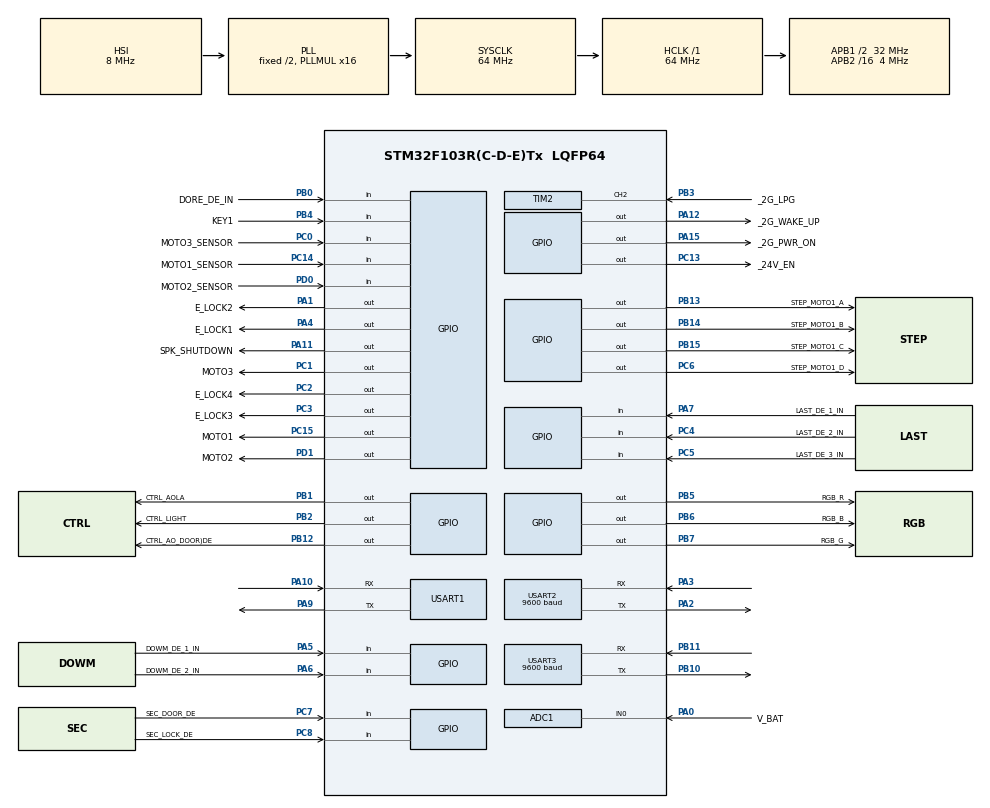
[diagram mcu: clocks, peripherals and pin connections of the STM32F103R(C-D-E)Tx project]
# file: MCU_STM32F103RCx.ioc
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ADC1.Channel-0\#ChannelRegularConversion=ADC_CHANNEL_0
ADC1.NbrOfConversionFlag=1
ADC1.Rank-0\#ChannelRegularConversion=1
ADC1.SamplingTime-0\#ChannelRegularConversion=ADC_SAMPLETIME_239CYCLES_5
ADC1.master=1
Mcu.Family=STM32F1
Mcu.Name=STM32F103R(C-D-E)Tx
Mcu.Package=LQFP64
NVIC.PriorityGroup=NVIC_PRIORITYGROUP_4
NVIC.TIM2_IRQn=true\:0\:0\:false\:false\:true\:true\:true
NVIC.USART2_IRQn=true\:0\:0\:false\:false\:true\:true\:true
PA0-WKUP.GPIO_Label=V_BAT
PA0-WKUP.Signal=ADCx_IN0
PA1.GPIO_Label=E_LOCK2
PA1.Signal=GPIO_Output
PA10.Mode=Asynchronous
PA10.Signal=USART1_RX
PA11.GPIO_Label=SPK_SHUTDOWN
PA11.GPIO_ModeDefaultOutputPP=GPIO_MODE_OUTPUT_PP
PA11.GPIO_PuPd=GPIO_NOPULL
PA11.PinState=GPIO_PIN_RESET
PA11.Signal=GPIO_Output
PA12.GPIO_Label=_2G_WAKE_UP
PA12.GPIO_PuPd=GPIO_PULLDOWN
PA12.Signal=GPIO_Output
PA13.Mode=Serial_Wire
PA13.Signal=SYS_JTMS-SWDIO
PA14.Mode=Serial_Wire
PA14.Signal=SYS_JTCK-SWCLK
PA15.GPIO_Label=_2G_PWR_ON
PA15.GPIO_PuPd=GPIO_PULLUP
PA15.PinState=GPIO_PIN_SET
PA15.Signal=GPIO_Output
PA2.Mode=Asynchronous
PA2.Signal=USART2_TX
PA3.Mode=Asynchronous
PA3.Signal=USART2_RX
PA4.GPIO_Label=E_LOCK1
PA4.Signal=GPIO_Output
PA5.GPIO_Label=DOWM_DE_1_IN
PA5.Signal=GPIO_Input
PA6.GPIO_Label=DOWM_DE_2_IN
PA6.Signal=GPIO_Input
PA7.GPIO_Label=LAST_DE_1_IN
PA7.Signal=GPIO_Input
PA9.Mode=Asynchronous
PA9.Signal=USART1_TX
PB0.GPIO_Label=DORE_DE_IN
PB0.Signal=GPIO_Input
PB1.GPIO_Label=CTRL_AOLA
PB1.Signal=GPIO_Output
PB10.GPIO_Mode=GPIO_MODE_AF_PP
PB10.GPIO_Speed=GPIO_SPEED_FREQ_HIGH
PB10.Mode=Asynchronous
PB10.Signal=USART3_TX
PB11.GPIO_PuPd=GPIO_NOPULL
PB11.Mode=Asynchronous
PB11.Signal=USART3_RX
PB12.GPIO_Label=CTRL_AO_DOOR)DE
PB12.Signal=GPIO_Output
PB13.GPIO_Label=STEP_MOTO1_A
PB13.Signal=GPIO_Output
PB14.GPIO_Label=STEP_MOTO1_B
PB14.Signal=GPIO_Output
PB15.GPIO_Label=STEP_MOTO1_C
PB15.Signal=GPIO_Output
PB2.GPIO_Label=CTRL_LIGHT
PB2.Signal=GPIO_Output
PB3.GPIO_Label=_2G_LPG
PB3.Signal=S_TIM2_CH2
PB4.GPIO_Label=KEY1
PB4.GPIO_PuPd=GPIO_PULLUP
PB4.Signal=GPIO_Input
PB5.GPIO_Label=RGB_R
PB5.PinState=GPIO_PIN_SET
PB5.Signal=GPIO_Output
PB6.GPIO_Label=RGB_B
PB6.PinState=GPIO_PIN_SET
PB6.Signal=GPIO_Output
PB7.GPIO_Label=RGB_G
PB7.PinState=GPIO_PIN_SET
PB7.Signal=GPIO_Output
PC0.GPIO_Label=MOTO3_SENSOR
PC0.Signal=GPIO_Input
PC1.GPIO_Label=MOTO3
PC1.Signal=GPIO_Output
PC13-TAMPER-RTC.GPIO_Label=_24V_EN
PC13-TAMPER-RTC.GPIO_ModeDefaultOutputPP=GPIO_MODE_OUTPUT_OD
PC13-TAMPER-RTC.PinState=GPIO_PIN_SET
PC13-TAMPER-RTC.Signal=GPIO_Output
PC14-OSC32_IN.GPIO_Label=MOTO1_SENSOR
PC14-OSC32_IN.Signal=GPIO_Input
PC15-OSC32_OUT.GPIO_Label=MOTO1
PC15-OSC32_OUT.Signal=GPIO_Output
PC2.GPIO_Label=E_LOCK4
PC2.Signal=GPIO_Output
PC3.GPIO_Label=E_LOCK3
PC3.Signal=GPIO_Output
PC4.GPIO_Label=LAST_DE_2_IN
PC4.Signal=GPIO_Input
PC5.GPIO_Label=LAST_DE_3_IN
PC5.Signal=GPIO_Input
PC6.GPIO_Label=STEP_MOTO1_D
PC6.Signal=GPIO_Output
PC7.GPIO_Label=SEC_DOOR_DE
PC7.GPIO_PuPd=GPIO_PULLDOWN
PC7.Signal=GPIO_Input
PC8.GPIO_Label=SEC_LOCK_DE
PC8.GPIO_PuPd=GPIO_PULLDOWN
PC8.Signal=GPIO_Input
PD0-OSC_IN.GPIO_Label=MOTO2_SENSOR
PD0-OSC_IN.Signal=GPIO_Input
PD1-OSC_OUT.GPIO_Label=MOTO2
PD1-OSC_OUT.Signal=GPIO_Output
ProjectManager.HeapSize=0x200
ProjectManager.StackSize=0x400
ProjectManager.TargetToolchain=EWARM V8
RCC.ADCPresc=RCC_ADCPCLK2_DIV8
RCC.AHBFreq_Value=64000000
RCC.APB1CLKDivider=RCC_HCLK_DIV2
RCC.APB1Freq_Value=32000000
RCC.APB1TimFreq_Value=64000000
RCC.APB2CLKDivider=RCC_HCLK_DIV16
RCC.APB2Freq_Value=4000000
RCC.APB2TimFreq_Value=8000000
RCC.HCLKFreq_Value=64000000
RCC.PLLMUL=RCC_PLL_MUL16
RCC.SYSCLKFreq_VALUE=64000000
RCC.SYSCLKSource=RCC_SYSCLKSOURCE_PLLCLK
RCC.USBFreq_Value=64000000
SH.ADCx_IN0.0=ADC1_IN0,IN0
SH.S_TIM2_CH2.0=TIM2_CH2,Input_Capture2_from_TI2
TIM2.Channel-Input_Capture2_from_TI2=TIM_CHANNEL_2
TIM2.Period=10-1
TIM2.Prescaler=6400-1
USART1.VirtualMode=VM_ASYNC
USART2.BaudRate=9600
USART2.VirtualMode=VM_ASYNC
USART3.BaudRate=9600
USART3.VirtualMode=VM_ASYNC
VP_TIM2_VS_ClockSourceINT.Mode=Internal
board=custom

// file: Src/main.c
/* USER CODE BEGIN Header */
/**
  ******************************************************************************
  * @file           : main.c
  * @brief          : Main program body
  ******************************************************************************
  ** This notice applies to any and all portions of this file
  * that are not between comment pairs USER CODE BEGIN and
  * USER CODE END. Other portions of this file, whether
  * inserted by the user or by software development tools
  * are owned by their respective copyright owners.
  *
  * COPYRIGHT(c) 2018 STMicroelectronics
  *
  * Redistribution and use in source and binary forms, with or without modification,
  * are permitted provided that the following conditions are met:
  *   1. Redistributions of source code must retain the above copyright notice,
  *      this list of conditions and the following disclaimer.
  *   2. Redistributions in binary form must reproduce the above copyright notice,
  *      this list of conditions and the following disclaimer in the documentation
  *      and/or other materials provided with the distribution.
  *   3. Neither the name of STMicroelectronics nor the names of its contributors
  *      may be used to endorse or promote products derived from this software
  *      without specific prior written permission.
  *
  * THIS SOFTWARE IS PROVIDED BY THE COPYRIGHT HOLDERS AND CONTRIBUTORS "AS IS"
  * AND ANY EXPRESS OR IMPLIED WARRANTIES, INCLUDING, BUT NOT LIMITED TO, THE
  * IMPLIED WARRANTIES OF MERCHANTABILITY AND FITNESS FOR A PARTICULAR PURPOSE ARE
  * DISCLAIMED. IN NO EVENT SHALL THE COPYRIGHT HOLDER OR CONTRIBUTORS BE LIABLE
  * FOR ANY DIRECT, INDIRECT, INCIDENTAL, SPECIAL, EXEMPLARY, OR CONSEQUENTIAL
  * DAMAGES (INCLUDING, BUT NOT LIMITED TO, PROCUREMENT OF SUBSTITUTE GOODS OR
  * SERVICES; LOSS OF USE, DATA, OR PROFITS; OR BUSINESS INTERRUPTION) HOWEVER
  * CAUSED AND ON ANY THEORY OF LIABILITY, WHETHER IN CONTRACT, STRICT LIABILITY,
  * OR TORT (INCLUDING NEGLIGENCE OR OTHERWISE) ARISING IN ANY WAY OUT OF THE USE
  * OF THIS SOFTWARE, EVEN IF ADVISED OF THE POSSIBILITY OF SUCH DAMAGE.
  *
  ******************************************************************************
  */
/* USER CODE END Header */

#include "main.h"

/* USER CODE BEGIN Includes */
#include "hal_key.h"
#include "gizwits_product.h"
#include "common.h"
#include "Vending_Machine.h"
/* USER CODE END Includes */

ADC_HandleTypeDef hadc1;

TIM_HandleTypeDef htim2;

UART_HandleTypeDef huart1;
UART_HandleTypeDef huart2;
UART_HandleTypeDef huart3;

/* USER CODE BEGIN PV */
/* Private variables ---------------------------------------------------------*/
#define GPIO_KEY_NUM 2 ///< Defines the total number of key member
keyTypedef_t singleKey[GPIO_KEY_NUM]; ///< Defines a single key member array pointer
keysTypedef_t keys;

uint32_t adcx;
double adc_result;

/* USER CODE END PV */

void SystemClock_Config(void);
static void MX_GPIO_Init(void);
static void MX_TIM2_Init(void);
static void MX_USART1_UART_Init(void);
static void MX_USART2_UART_Init(void);
static void MX_ADC1_Init(void);
static void MX_USART3_UART_Init(void);
/* USER CODE BEGIN PFP */
/* Private function prototypes -----------------------------------------------*/

/* USER CODE END PFP */

/* USER CODE BEGIN 0 */
/**
* key1 short press handle
* @param none
* @return none
*/
void key1ShortPress(void)
{
    GIZWITS_LOG("KEY1 PRESS ,Production Mode\n");
    gizwitsSetMode(WIFI_PRODUCTION_TEST);
}

/**
* key1 long press handle
* @param none
* @return none
*/
void key1LongPress(void)
{
    GIZWITS_LOG("KEY1 PRESS LONG ,Wifi Reset\n");
    gizwitsSetMode(WIFI_RESET_MODE);

}

/**
* key2 short press handle
* @param none
* @return none
*/
void key2ShortPress(void)
{
    GIZWITS_LOG("KEY2 PRESS ,Soft AP mode\n");
    #if !MODULE_TYPE
    gizwitsSetMode(WIFI_SOFTAP_MODE);
    #endif
}

/**
* key2 long press handle
* @param none
* @return none
*/
void key2LongPress(void)
{
    //AirLink mode
    GIZWITS_LOG("KEY2 PRESS LONG ,AirLink mode\n");
    #if !MODULE_TYPE
    gizwitsSetMode(WIFI_AIRLINK_MODE);
    #endif
}

/**
* Key init function
* @param none
* @return none
*/
void keyInit(void)
{
//    singleKey[0] = keyInitOne(NULL, KEY1_GPIO_Port, KEY1_Pin, key1ShortPress, key1LongPress);
//    singleKey[1] = keyInitOne(NULL, KEY2_GPIO_Port, KEY2_Pin, key2ShortPress, key2LongPress);
//    keys.singleKey = (keyTypedef_t *)&singleKey;
//    keyParaInit(&keys);
}
/* USER CODE END 0 */

int main(void)
{

  /* MCU Configuration--------------------------------------------------------*/

  /* Reset of all peripherals, Initializes the Flash interface and the Systick. */
  HAL_Init();

  /* Configure the system clock */
  SystemClock_Config();

  /* Initialize all configured peripherals */
  MX_GPIO_Init();
  MX_TIM2_Init();
  MX_USART1_UART_Init();
  MX_USART2_UART_Init();
  MX_ADC1_Init();
  MX_USART3_UART_Init();
  /* USER CODE BEGIN 2 */
  timerInit();
  uartInit();

  userInit();
  gizwitsInit();
//  keyInit();

  GIZWITS_LOG("MCU Init Success \n");
  Vending_MachineInit();//售货机初始化
  /* USER CODE END 2 */

  /* Infinite loop */
  /* USER CODE BEGIN WHILE */
  HAL_Delay(1000);
  Speakaword(welcome);

  while (1)
  {
    /* USER CODE END WHILE */

    /* USER CODE BEGIN 3 */

    if(VM_Count.Ledcount>100){
      HAL_ADC_Start(&hadc1);
      adcx=HAL_ADC_GetValue(&hadc1);//ADC原始�?
      adc_result=((adcx*0.0063938871343+0.4)-11)*159.375;
      VM_InnerCtrl.BatteryCapacity=(uint8_t)adc_result;
      VM_Count.Ledcount=0;
      HAL_GPIO_TogglePin(RGB_B_GPIO_Port, RGB_B_Pin);
    }

      userHandle();
      gizwitsHandle((dataPoint_t *)&currentDataPoint);
  }
  /* USER CODE END 3 */
}

void SystemClock_Config(void)
{
  RCC_OscInitTypeDef RCC_OscInitStruct = {0};
  RCC_ClkInitTypeDef RCC_ClkInitStruct = {0};
  RCC_PeriphCLKInitTypeDef PeriphClkInit = {0};

  /**Initializes the CPU, AHB and APB busses clocks
  */
  RCC_OscInitStruct.OscillatorType = RCC_OSCILLATORTYPE_HSI;
  RCC_OscInitStruct.HSIState = RCC_HSI_ON;
  RCC_OscInitStruct.HSICalibrationValue = RCC_HSICALIBRATION_DEFAULT;
  RCC_OscInitStruct.PLL.PLLState = RCC_PLL_ON;
  RCC_OscInitStruct.PLL.PLLSource = RCC_PLLSOURCE_HSI_DIV2;
  RCC_OscInitStruct.PLL.PLLMUL = RCC_PLL_MUL16;
  if (HAL_RCC_OscConfig(&RCC_OscInitStruct) != HAL_OK)
  {
    Error_Handler();
  }
  /**Initializes the CPU, AHB and APB busses clocks
  */
  RCC_ClkInitStruct.ClockType = RCC_CLOCKTYPE_HCLK|RCC_CLOCKTYPE_SYSCLK
                              |RCC_CLOCKTYPE_PCLK1|RCC_CLOCKTYPE_PCLK2;
  RCC_ClkInitStruct.SYSCLKSource = RCC_SYSCLKSOURCE_PLLCLK;
  RCC_ClkInitStruct.AHBCLKDivider = RCC_SYSCLK_DIV1;
  RCC_ClkInitStruct.APB1CLKDivider = RCC_HCLK_DIV2;
  RCC_ClkInitStruct.APB2CLKDivider = RCC_HCLK_DIV16;

  if (HAL_RCC_ClockConfig(&RCC_ClkInitStruct, FLASH_LATENCY_2) != HAL_OK)
  {
    Error_Handler();
  }
  PeriphClkInit.PeriphClockSelection = RCC_PERIPHCLK_ADC;
  PeriphClkInit.AdcClockSelection = RCC_ADCPCLK2_DIV8;
  if (HAL_RCCEx_PeriphCLKConfig(&PeriphClkInit) != HAL_OK)
  {
    Error_Handler();
  }
}

static void MX_ADC1_Init(void)
{

  ADC_ChannelConfTypeDef sConfig = {0};

  /**Common config
  */
  hadc1.Instance = ADC1;
  hadc1.Init.ScanConvMode = ADC_SCAN_DISABLE;
  hadc1.Init.ContinuousConvMode = DISABLE;
  hadc1.Init.DiscontinuousConvMode = DISABLE;
  hadc1.Init.ExternalTrigConv = ADC_SOFTWARE_START;
  hadc1.Init.DataAlign = ADC_DATAALIGN_RIGHT;
  hadc1.Init.NbrOfConversion = 1;
  if (HAL_ADC_Init(&hadc1) != HAL_OK)
  {
    Error_Handler();
  }
  /**Configure Regular Channel
  */
  sConfig.Channel = ADC_CHANNEL_0;
  sConfig.Rank = ADC_REGULAR_RANK_1;
  sConfig.SamplingTime = ADC_SAMPLETIME_239CYCLES_5;
  if (HAL_ADC_ConfigChannel(&hadc1, &sConfig) != HAL_OK)
  {
    Error_Handler();
  }

}

static void MX_TIM2_Init(void)
{

  TIM_ClockConfigTypeDef sClockSourceConfig = {0};
  TIM_MasterConfigTypeDef sMasterConfig = {0};
  TIM_IC_InitTypeDef sConfigIC = {0};

  htim2.Instance = TIM2;
  htim2.Init.Prescaler = 6400-1;
  htim2.Init.CounterMode = TIM_COUNTERMODE_UP;
  htim2.Init.Period = 10-1;
  htim2.Init.ClockDivision = TIM_CLOCKDIVISION_DIV1;
  htim2.Init.AutoReloadPreload = TIM_AUTORELOAD_PRELOAD_DISABLE;
  if (HAL_TIM_Base_Init(&htim2) != HAL_OK)
  {
    Error_Handler();
  }
  sClockSourceConfig.ClockSource = TIM_CLOCKSOURCE_INTERNAL;
  if (HAL_TIM_ConfigClockSource(&htim2, &sClockSourceConfig) != HAL_OK)
  {
    Error_Handler();
  }
  if (HAL_TIM_IC_Init(&htim2) != HAL_OK)
  {
    Error_Handler();
  }
  sMasterConfig.MasterOutputTrigger = TIM_TRGO_RESET;
  sMasterConfig.MasterSlaveMode = TIM_MASTERSLAVEMODE_DISABLE;
  if (HAL_TIMEx_MasterConfigSynchronization(&htim2, &sMasterConfig) != HAL_OK)
  {
    Error_Handler();
  }
  sConfigIC.ICPolarity = TIM_INPUTCHANNELPOLARITY_RISING;
  sConfigIC.ICSelection = TIM_ICSELECTION_DIRECTTI;
  sConfigIC.ICPrescaler = TIM_ICPSC_DIV1;
  sConfigIC.ICFilter = 0;
  if (HAL_TIM_IC_ConfigChannel(&htim2, &sConfigIC, TIM_CHANNEL_2) != HAL_OK)
  {
    Error_Handler();
  }

}

static void MX_USART1_UART_Init(void)
{

  huart1.Instance = USART1;
  huart1.Init.BaudRate = 115200;
  huart1.Init.WordLength = UART_WORDLENGTH_8B;
  huart1.Init.StopBits = UART_STOPBITS_1;
  huart1.Init.Parity = UART_PARITY_NONE;
  huart1.Init.Mode = UART_MODE_TX_RX;
  huart1.Init.HwFlowCtl = UART_HWCONTROL_NONE;
  huart1.Init.OverSampling = UART_OVERSAMPLING_16;
  if (HAL_UART_Init(&huart1) != HAL_OK)
  {
    Error_Handler();
  }

}

static void MX_USART2_UART_Init(void)
{

  huart2.Instance = USART2;
  huart2.Init.BaudRate = 9600;
  huart2.Init.WordLength = UART_WORDLENGTH_8B;
  huart2.Init.StopBits = UART_STOPBITS_1;
  huart2.Init.Parity = UART_PARITY_NONE;
  huart2.Init.Mode = UART_MODE_TX_RX;
  huart2.Init.HwFlowCtl = UART_HWCONTROL_NONE;
  huart2.Init.OverSampling = UART_OVERSAMPLING_16;
  if (HAL_UART_Init(&huart2) != HAL_OK)
  {
    Error_Handler();
  }

}

static void MX_USART3_UART_Init(void)
{

  huart3.Instance = USART3;
  huart3.Init.BaudRate = 9600;
  huart3.Init.WordLength = UART_WORDLENGTH_8B;
  huart3.Init.StopBits = UART_STOPBITS_1;
  huart3.Init.Parity = UART_PARITY_NONE;
  huart3.Init.Mode = UART_MODE_TX_RX;
  huart3.Init.HwFlowCtl = UART_HWCONTROL_NONE;
  huart3.Init.OverSampling = UART_OVERSAMPLING_16;
  if (HAL_UART_Init(&huart3) != HAL_OK)
  {
    Error_Handler();
  }

}

static void MX_GPIO_Init(void)
{
  GPIO_InitTypeDef GPIO_InitStruct = {0};

  /* GPIO Ports Clock Enable */
  __HAL_RCC_GPIOC_CLK_ENABLE();
  __HAL_RCC_GPIOD_CLK_ENABLE();
  __HAL_RCC_GPIOA_CLK_ENABLE();
  __HAL_RCC_GPIOB_CLK_ENABLE();

  /*Configure GPIO pin Output Level */
  HAL_GPIO_WritePin(_24V_EN_GPIO_Port, _24V_EN_Pin, GPIO_PIN_SET);

  /*Configure GPIO pin Output Level */
  HAL_GPIO_WritePin(GPIOC, MOTO1_Pin|MOTO3_Pin|E_LOCK4_Pin|E_LOCK3_Pin
                          |STEP_MOTO1_D_Pin, GPIO_PIN_RESET);

  /*Configure GPIO pin Output Level */
  HAL_GPIO_WritePin(MOTO2_GPIO_Port, MOTO2_Pin, GPIO_PIN_RESET);

  /*Configure GPIO pin Output Level */
  HAL_GPIO_WritePin(GPIOA, E_LOCK2_Pin|E_LOCK1_Pin|SPK_SHUTDOWN_Pin|_2G_WAKE_UP_Pin, GPIO_PIN_RESET);

  /*Configure GPIO pin Output Level */
  HAL_GPIO_WritePin(GPIOB, CTRL_AOLA_Pin|CTRL_LIGHT_Pin|CTRL_AO_DOOR_DE_Pin|STEP_MOTO1_A_Pin
                          |STEP_MOTO1_B_Pin|STEP_MOTO1_C_Pin, GPIO_PIN_RESET);

  /*Configure GPIO pin Output Level */
  HAL_GPIO_WritePin(_2G_PWR_ON_GPIO_Port, _2G_PWR_ON_Pin, _2GAutoPowerOn?GPIO_PIN_RESET:GPIO_PIN_SET);

  /*Configure GPIO pin Output Level */
  HAL_GPIO_WritePin(GPIOB, RGB_R_Pin|RGB_B_Pin|RGB_G_Pin, GPIO_PIN_SET);

  /*Configure GPIO pin : _24V_EN_Pin */
  GPIO_InitStruct.Pin = _24V_EN_Pin;
  GPIO_InitStruct.Mode = GPIO_MODE_OUTPUT_OD;
  GPIO_InitStruct.Pull = GPIO_NOPULL;
  GPIO_InitStruct.Speed = GPIO_SPEED_FREQ_LOW;
  HAL_GPIO_Init(_24V_EN_GPIO_Port, &GPIO_InitStruct);

  /*Configure GPIO pins : MOTO1_SENSOR_Pin MOTO3_SENSOR_Pin LAST_DE_2_IN_Pin LAST_DE_3_IN_Pin */
  GPIO_InitStruct.Pin = MOTO1_SENSOR_Pin|MOTO3_SENSOR_Pin|LAST_DE_2_IN_Pin|LAST_DE_3_IN_Pin;
  GPIO_InitStruct.Mode = GPIO_MODE_INPUT;
  GPIO_InitStruct.Pull = GPIO_NOPULL;
  HAL_GPIO_Init(GPIOC, &GPIO_InitStruct);

  /*Configure GPIO pins : MOTO1_Pin MOTO3_Pin E_LOCK4_Pin E_LOCK3_Pin
                           STEP_MOTO1_D_Pin */
  GPIO_InitStruct.Pin = MOTO1_Pin|MOTO3_Pin|E_LOCK4_Pin|E_LOCK3_Pin
                          |STEP_MOTO1_D_Pin;
  GPIO_InitStruct.Mode = GPIO_MODE_OUTPUT_PP;
  GPIO_InitStruct.Pull = GPIO_NOPULL;
  GPIO_InitStruct.Speed = GPIO_SPEED_FREQ_LOW;
  HAL_GPIO_Init(GPIOC, &GPIO_InitStruct);

  /*Configure GPIO pin : MOTO2_SENSOR_Pin */
  GPIO_InitStruct.Pin = MOTO2_SENSOR_Pin;
  GPIO_InitStruct.Mode = GPIO_MODE_INPUT;
  GPIO_InitStruct.Pull = GPIO_NOPULL;
  HAL_GPIO_Init(MOTO2_SENSOR_GPIO_Port, &GPIO_InitStruct);

  /*Configure GPIO pin : MOTO2_Pin */
  GPIO_InitStruct.Pin = MOTO2_Pin;
  GPIO_InitStruct.Mode = GPIO_MODE_OUTPUT_PP;
  GPIO_InitStruct.Pull = GPIO_NOPULL;
  GPIO_InitStruct.Speed = GPIO_SPEED_FREQ_LOW;
  HAL_GPIO_Init(MOTO2_GPIO_Port, &GPIO_InitStruct);

  /*Configure GPIO pins : E_LOCK2_Pin E_LOCK1_Pin SPK_SHUTDOWN_Pin */
  GPIO_InitStruct.Pin = E_LOCK2_Pin|E_LOCK1_Pin|SPK_SHUTDOWN_Pin;
  GPIO_InitStruct.Mode = GPIO_MODE_OUTPUT_PP;
  GPIO_InitStruct.Pull = GPIO_NOPULL;
  GPIO_InitStruct.Speed = GPIO_SPEED_FREQ_LOW;
  HAL_GPIO_Init(GPIOA, &GPIO_InitStruct);

  /*Configure GPIO pins : DOWM_DE_1_IN_Pin DOWM_DE_2_IN_Pin LAST_DE_1_IN_Pin */
  GPIO_InitStruct.Pin = DOWM_DE_1_IN_Pin|DOWM_DE_2_IN_Pin|LAST_DE_1_IN_Pin;
  GPIO_InitStruct.Mode = GPIO_MODE_INPUT;
  GPIO_InitStruct.Pull = GPIO_NOPULL;
  HAL_GPIO_Init(GPIOA, &GPIO_InitStruct);

  /*Configure GPIO pin : DORE_DE_IN_Pin */
  GPIO_InitStruct.Pin = DORE_DE_IN_Pin;
  GPIO_InitStruct.Mode = GPIO_MODE_INPUT;
  GPIO_InitStruct.Pull = GPIO_NOPULL;
  HAL_GPIO_Init(DORE_DE_IN_GPIO_Port, &GPIO_InitStruct);

  /*Configure GPIO pins : CTRL_AOLA_Pin CTRL_LIGHT_Pin CTRL_AO_DOOR_DE_Pin STEP_MOTO1_A_Pin
                           STEP_MOTO1_B_Pin STEP_MOTO1_C_Pin RGB_R_Pin RGB_B_Pin
                           RGB_G_Pin */
  GPIO_InitStruct.Pin = CTRL_AOLA_Pin|CTRL_LIGHT_Pin|CTRL_AO_DOOR_DE_Pin|STEP_MOTO1_A_Pin
                          |STEP_MOTO1_B_Pin|STEP_MOTO1_C_Pin|RGB_R_Pin|RGB_B_Pin
                          |RGB_G_Pin;
  GPIO_InitStruct.Mode = GPIO_MODE_OUTPUT_PP;
  GPIO_InitStruct.Pull = GPIO_NOPULL;
  GPIO_InitStruct.Speed = GPIO_SPEED_FREQ_LOW;
  HAL_GPIO_Init(GPIOB, &GPIO_InitStruct);

  /*Configure GPIO pins : SEC_DOOR_DE_Pin SEC_LOCK_DE_Pin */
  GPIO_InitStruct.Pin = SEC_DOOR_DE_Pin|SEC_LOCK_DE_Pin;
  GPIO_InitStruct.Mode = GPIO_MODE_INPUT;
  GPIO_InitStruct.Pull = GPIO_PULLDOWN;
  HAL_GPIO_Init(GPIOC, &GPIO_InitStruct);

  /*Configure GPIO pin : _2G_WAKE_UP_Pin */
  GPIO_InitStruct.Pin = _2G_WAKE_UP_Pin;
  GPIO_InitStruct.Mode = GPIO_MODE_OUTPUT_PP;
  GPIO_InitStruct.Pull = GPIO_PULLDOWN;
  GPIO_InitStruct.Speed = GPIO_SPEED_FREQ_LOW;
  HAL_GPIO_Init(_2G_WAKE_UP_GPIO_Port, &GPIO_InitStruct);

  /*Configure GPIO pin : _2G_PWR_ON_Pin */
  GPIO_InitStruct.Pin = _2G_PWR_ON_Pin;
  GPIO_InitStruct.Mode = GPIO_MODE_OUTPUT_PP;
  GPIO_InitStruct.Pull = GPIO_PULLUP;
  GPIO_InitStruct.Speed = GPIO_SPEED_FREQ_LOW;
  HAL_GPIO_Init(_2G_PWR_ON_GPIO_Port, &GPIO_InitStruct);

  /*Configure GPIO pin : KEY1_Pin */
  GPIO_InitStruct.Pin = KEY1_Pin;
  GPIO_InitStruct.Mode = GPIO_MODE_INPUT;
  GPIO_InitStruct.Pull = GPIO_PULLUP;
  HAL_GPIO_Init(KEY1_GPIO_Port, &GPIO_InitStruct);

  /*Configure peripheral I/O remapping */
  __HAL_AFIO_REMAP_PD01_ENABLE();

}

void Error_Handler(void)
{
  while(1)
  {
  }
}

/************************ (C) COPYRIGHT STMicroelectronics *****END OF FILE****/
